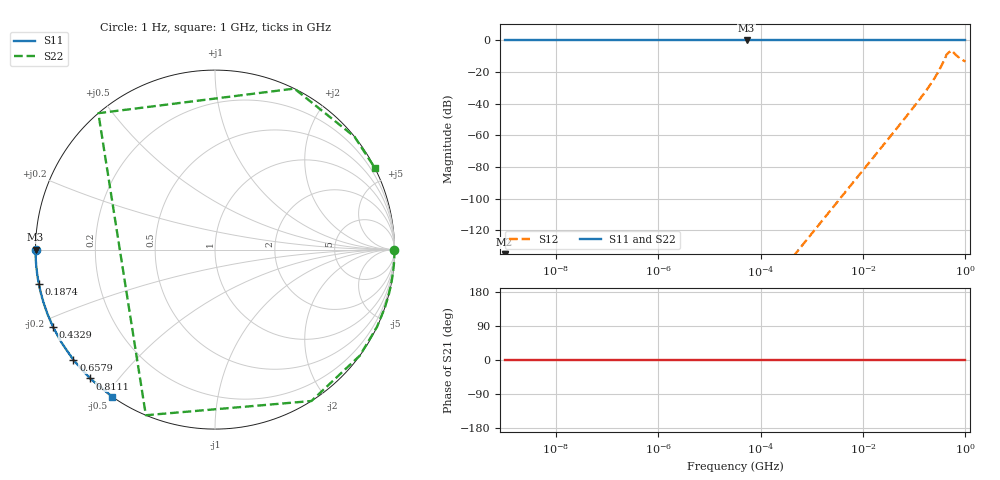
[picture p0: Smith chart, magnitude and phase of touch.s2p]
! Cinvestav GDL Microondas I
# GHZ  S  RI  R  50
!	Freq  Res11  Ims11  Res21  Ims21  Res12  Ims12  Res22  Ims22
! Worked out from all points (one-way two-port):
!   100 points, 1 Hz to 1 GHz, reference 50 ohm
!   highest |S21| = - dB at 1 Hz (marker M1); lowest = - dB at 1 Hz (marker M2)
!   lowest |S11| = 0.0 dB at 53.37 kHz (marker M3)
!   |S11| at or under -10 dB: nowhere
!   |S22| runs from 0.0 to 0.0 dB; largest |S21 - S12| = 0.49
!   S11 on the Smith chart (normalised r, x): 1 Hz: -0.00, -0.00; 187.4 MHz: -0.00, -0.10; 432.9 MHz: -0.00, -0.23; 657.9 MHz: 0.00, -0.34; 811.1 MHz: -0.00, -0.42; 1 GHz: -0.00, -0.52
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1e-09  -1 -1e-09  0 0  0 -0  1 -1.5e-09
3.51e-08  -1 -3.67e-08  0 0  0 -0  1 -5.34e-08
1.2328e-06  -1 -1.29e-06  0 0  0 -0  1 -1.87e-06
3.51119e-05  -1 -3.67e-05  0 0  1e-09 -0  1 -5.34e-05
5.3367e-05  -1 -5.57e-05  0 0  2.3e-09 -0  1 -8.11e-05
0.001  -1 -0.00104  0 0  7.93e-07 -2e-10  1 -0.00152
0.01  -0.9999 -0.0104  0 0  7.94e-05 -1.89e-07  0.9999 -0.0152
0.01232847  -0.9999 -0.0129  0 0  0.000121 -3.55e-07  0.9998 -0.0187
0.03511192  -0.9993 -0.0366  0 0  0.000983 -8.34e-06  0.9986 -0.0536
0.06579332  -0.9976 -0.0686  0 0  0.00349 -5.77e-05  0.9948 -0.1016
0.1  -0.9946 -0.1041  0 0  0.00824 -0.000222  0.9875 -0.1576
0.1232847  -0.9918 -0.1282  0 0  0.0128 -0.000453  0.9802 -0.1981
0.1519911  -0.9875 -0.1577  0 0  0.02 -0.000961  0.9679 -0.2515
0.1873817  -0.981 -0.1938  0 0  0.032 -0.00217  0.9459 -0.3246
0.231013  -0.9713 -0.2377  0 0  0.0525 -0.00537  0.903 -0.4296
0.2848036  -0.9568 -0.2909  0 0  0.0901 -0.0153  0.8069 -0.5908
0.3511192  -0.935 -0.3547  0 0  0.1646 -0.0547  0.5371 -0.8435
0.4328761  -0.9028 -0.43  0 0  0.2657 -0.253  -0.3852 -0.9228
0.5336699  -0.856 -0.517  0 0  -0.0777 -0.4813  -0.6499 0.76
0.6579332  -0.789 -0.6144  0 0  -0.2167 -0.266  0.4421 0.897
0.8111308  -0.6959 -0.7181  0 0  -0.192 -0.1756  0.7774 0.629
1  -0.5717 -0.8204  0 0  -0.1628 -0.1418  0.8911 0.4538
